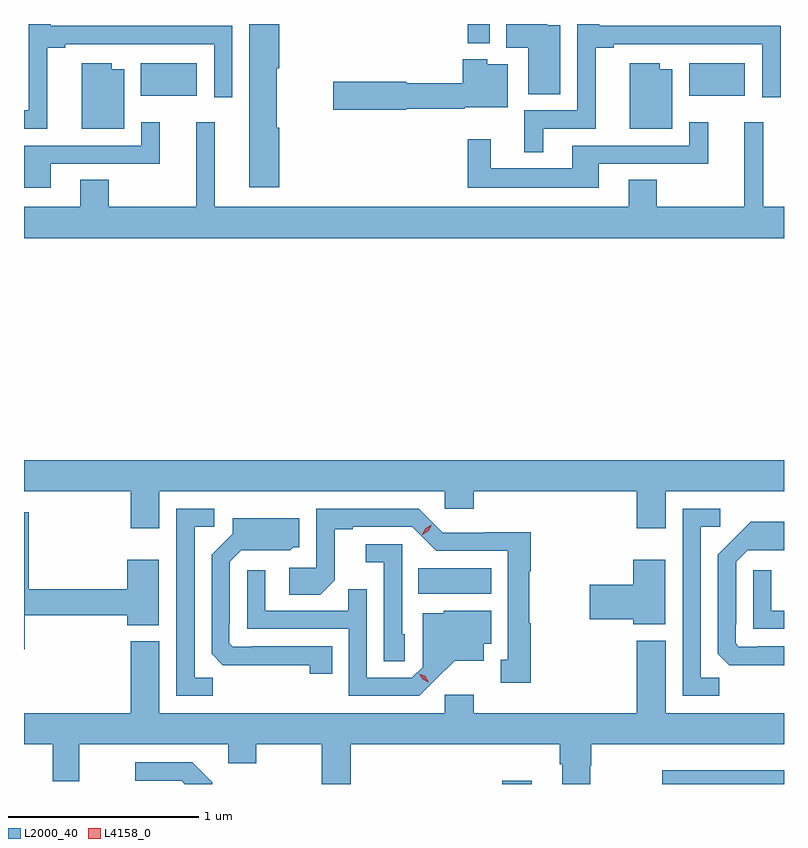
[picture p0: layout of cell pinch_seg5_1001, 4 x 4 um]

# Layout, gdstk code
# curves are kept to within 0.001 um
import gdstk
lib = gdstk.Library(unit=1e-6, precision=1e-09)
def R(c, l, rs):  # rectangles x0, y0, x1, y1
    for r in rs: c.add(gdstk.rectangle(r[:2], r[2:], *l))
def P(c, l, *ps):  # polygons
    for p in ps: c.add(gdstk.Polygon(p, *l))
L2000_40 = (2000, 40)
L4158_0 = (4158, 0)

pinch_seg5_1001 = lib.new_cell('pinch_seg5_1001')
R(pinch_seg5_1001, L2000_40, [(735.655,841.899,735.811,841.915), (736.497,841.899,737.139,841.972), (735.214,842.9,735.598,843.034), (733.754,845.522,734.047,845.692), (736.64,845.522,736.933,845.692), (735.475,845.798,735.591,845.899)])
P(pinch_seg5_1001, L2000_40, [(734.483,845.352),(734.47,845.352),(734.47,845.667),(734.483,845.667),(734.483,845.899),(734.324,845.899),(734.324,845.04),(734.483,845.04)],
  [(735.961,845.893),(735.892,845.893),(735.892,845.899),(735.676,845.899),(735.676,845.774),(735.794,845.774),(735.794,845.53),(735.961,845.53)],
  [(735.871,845.349),(736.148,845.349),(736.148,845.773),(736.243,845.773),(736.243,845.793),(737.025,845.793),(737.025,845.514),(737.121,845.514),(737.121,845.889),(736.796,845.889),(736.796,845.891),(736.166,845.891),(736.166,845.899),(736.05,845.899),(736.05,845.445),(735.773,845.445),(735.773,845.225),(735.871,845.225)],
  [(733.262,845.773),(733.357,845.773),(733.357,845.793),(734.139,845.793),(734.139,845.514),(734.235,845.514),(734.235,845.889),(733.91,845.889),(733.91,845.891),(733.28,845.891),(733.28,845.899),(733.164,845.899),(733.164,845.445),(733.139,845.445),(733.139,845.349),(733.262,845.349)],
  [(735.15,845.452),(735.459,845.452),(735.459,845.462),(735.685,845.462),(735.685,845.686),(735.576,845.686),(735.576,845.713),(735.448,845.713),(735.448,845.588),(735.15,845.588),(735.15,845.594),(734.766,845.594),(734.766,845.447),(735.15,845.447)],
  [(733.666,845.662),(733.6,845.662),(733.6,845.692),(733.442,845.692),(733.442,845.348),(733.666,845.348)],
  [(736.552,845.662),(736.486,845.662),(736.486,845.692),(736.328,845.692),(736.328,845.348),(736.552,845.348)],
  [(733.279,845.163),(733.853,845.163),(733.853,845.383),(733.755,845.383),(733.755,845.259),(733.139,845.259),(733.139,845.036),(733.279,845.036)],
  [(736.165,845.163),(736.739,845.163),(736.739,845.383),(736.641,845.383),(736.641,845.259),(736.025,845.259),(736.025,845.14),(735.595,845.14),(735.595,845.293),(735.474,845.293),(735.474,845.036),(736.165,845.036)],
  [(737.139,844.936),(737.03,844.936),(737.03,845.383),(736.931,845.383),(736.931,844.936),(736.47,844.936),(736.47,845.078),(736.322,845.078),(736.322,844.936),(734.144,844.936),(734.144,845.383),(734.045,845.383),(734.045,844.936),(733.584,844.936),(733.584,845.078),(733.436,845.078),(733.436,844.936),(733.139,844.936),(733.139,844.772),(737.139,844.772)],
  [(733.852,843.44),(735.354,843.44),(735.354,843.347),(735.506,843.347),(735.506,843.44),(736.364,843.44),(736.364,843.246),(736.516,843.246),(736.516,843.44),(737.139,843.44),(737.139,843.604),(733.139,843.604),(733.139,843.44),(733.7,843.44),(733.7,843.246),(733.852,843.246)],
  [(736.797,842.459),(736.701,842.459),(736.701,843.252),(736.804,843.252),(736.804,843.348),(736.605,843.348),(736.605,842.364),(736.797,842.364)],
  [(735.805,842.745),(735.797,842.745),(735.797,843.019),(735.805,843.019),(735.805,843.224),(735.564,843.224),(735.564,843.222),(735.342,843.222),(735.216,843.348),(734.676,843.348),(734.676,843.036),(734.535,843.036),(734.535,842.896),(734.699,842.896),(734.775,842.972),(734.775,843.24),(734.869,843.24),(734.869,843.252),(735.183,843.252),(735.309,843.126),(735.686,843.126),(735.686,842.553),(735.647,842.553),(735.647,842.433),(735.805,842.433)],
  [(734.133,842.459),(734.037,842.459),(734.037,843.252),(734.14,843.252),(734.14,843.348),(733.941,843.348),(733.941,842.364),(734.133,842.364)],
  [(733.143,842.788),(733.682,842.788),(733.682,842.735),(733.849,842.735),(733.849,843.079),(733.682,843.079),(733.682,842.924),(733.163,842.924),(733.163,843.33),(733.139,843.33),(733.139,842.609),(733.143,842.609)],
  [(734.762,842.625),(734.338,842.625),(734.338,842.622),(734.238,842.622),(734.22,842.64),(734.22,842.74),(734.223,842.74),(734.223,843.069),(734.283,843.129),(734.54,843.128),(734.556,843.144),(734.587,843.144),(734.587,843.298),(734.237,843.298),(734.237,843.216),(734.127,843.106),(734.127,842.584),(734.186,842.525),(734.644,842.524),(734.644,842.478),(734.762,842.478)],
  [(737.139,842.625),(737.002,842.625),(737.002,842.622),(736.902,842.622),(736.884,842.64),(736.884,842.74),(736.887,842.74),(736.887,843.069),(736.947,843.129),(737.139,843.128),(737.139,843.28),(736.963,843.28),(736.791,843.106),(736.791,842.584),(736.85,842.525),(737.139,842.524)],
  [(735.144,842.688),(735.129,842.688),(735.129,843.162),(734.937,843.162),(734.937,843.065),(735.033,843.065),(735.033,842.545),(735.144,842.545)],
  [(736.513,843.079),(736.346,843.079),(736.346,842.948),(736.116,842.948),(736.116,842.765),(736.346,842.765),(736.346,842.741),(736.513,842.741)],
  [(735.304,842.447),(735.407,842.549),(735.559,842.549),(735.559,842.636),(735.598,842.636),(735.598,842.812),(735.348,842.812),(735.348,842.797),(735.237,842.797),(735.237,842.514),(735.18,842.457),(734.943,842.457),(734.943,842.924),(734.845,842.924),(734.845,842.811),(734.409,842.811),(734.409,843.025),(734.313,843.025),(734.313,842.715),(734.847,842.715),(734.847,842.364),(735.22,842.364)],
  [(737.139,842.811),(737.073,842.811),(737.073,843.025),(736.977,843.025),(736.977,842.715),(737.139,842.715)],
  [(735.959,842.002),(735.971,842.002),(735.971,841.899),(736.119,841.899),(736.119,841.995),(736.124,841.995),(736.124,842.108),(737.139,842.108),(737.139,842.272),(736.516,842.272),(736.516,842.653),(736.364,842.653),(736.364,842.272),(735.506,842.272),(735.506,842.368),(735.354,842.368),(735.354,842.272),(733.852,842.272),(733.852,842.65),(733.7,842.65),(733.7,842.272),(733.139,842.272),(733.139,842.108),(733.289,842.108),(733.289,841.914),(733.429,841.914),(733.429,842.108),(734.213,842.108),(734.213,842.009),(734.361,842.009),(734.361,842.108),(734.705,842.108),(734.705,841.899),(734.858,841.899),(734.858,842.108),(735.959,842.108)],
  [(734.131,841.907),(734.025,842.013),(733.725,842.013),(733.725,841.917),(733.968,841.917),(733.986,841.899),(734.131,841.899)])
P(pinch_seg5_1001, L4158_0, [(735.236,843.212),(735.236,843.213),(735.254,843.245),(735.286,843.263),(735.286,843.263),(735.286,843.263),(735.268,843.231),(735.236,843.212)],
  [(735.267,842.435),(735.237,842.45),(735.219,842.48),(735.219,842.48),(735.22,842.48),(735.25,842.465),(735.268,842.435),(735.268,842.435)])

lib.write_gds('pinch_seg5_1001.gds')
